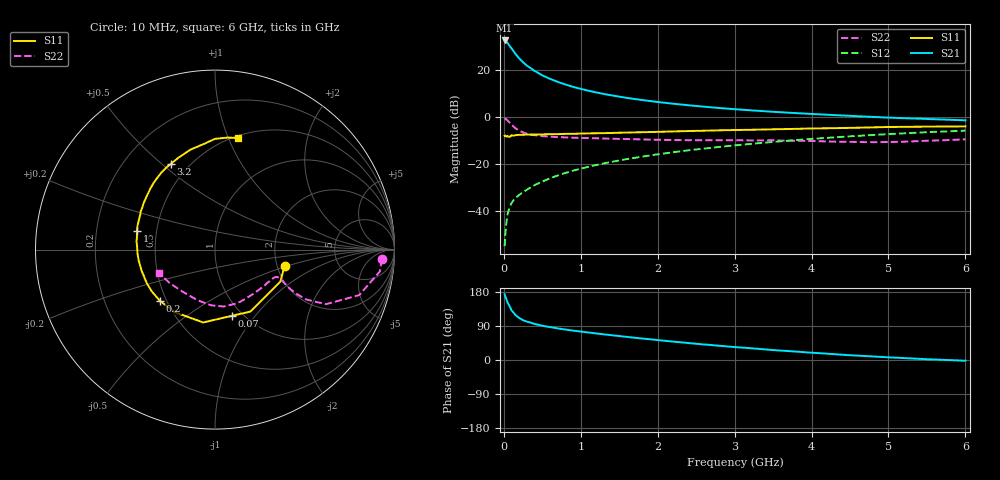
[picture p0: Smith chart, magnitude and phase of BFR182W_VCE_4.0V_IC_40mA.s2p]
! Infineon Technologies  Discrete & RF Semiconductors
! BFR182W
! VCE =  4.0 V,  IC =  40 mA
! Common Emitter S-Parameters:  Jan 2017
# GHz  S  MA  R  50
!  f  S11  S21  S12  S22
! GHz  MAG  ANG  MAG  ANG  MAG  ANG  MAG  ANG
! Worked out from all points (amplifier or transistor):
!   77 points, 10 MHz to 6 GHz, reference 50 ohm
!   highest |S21| = 32.6 dB at 10 MHz (marker M1)
!   |S21| within 3 dB of that: start of sweep to 90.44 MHz
!   unconditionally stable (mu >= 1): 421.3 MHz to 2.315 GHz
!   at 130 MHz: K = 0.60, MSG = 31.5 dB, |S12| = -35.2 dB
!   at 2.2 GHz: K = 1.01, MAG = 9.7 dB, |S12| = -15.0 dB
!   at 6 GHz: K = 0.89, MSG = 2.2 dB, |S12| = -5.7 dB
!   S11 on the Smith chart (normalised r, x): 10 MHz: 2.20, -0.47; 70 MHz: 0.89, -0.77; 200 MHz: 0.46, -0.32; 1 GHz: 0.39, +0.10; 3.2 GHz: 0.40, +0.54; 6 GHz: 0.52, +1.09
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0.01  0.3981 -13.1  42.66 173.4  0.0018 79.8  0.932 -3.3
0.02  0.4055 -26.1  42.57 167.4  0.0033 87.7  0.9262 -7.6
0.05  0.3977 -60.2  37.65 150.5  0.0089 71.3  0.8427 -17.5
0.07  0.3808 -76.0  33.67 143.8  0.0113 67.7  0.779 -20.6
0.1  0.4112 -99.2  28.84 130.7  0.0149 64.5  0.6886 -26.2
0.15  0.4141 -122.5  22.18 118.7  0.0191 61.0  0.5794 -28.7
0.2  0.4193 -136.9  17.7 110.9  0.0221 64.3  0.5137 -28.5
0.25  0.4226 -146.9  14.66 105.1  0.0256 63.7  0.4721 -27.6
0.3  0.4236 -154.2  12.43 101.2  0.0285 65.5  0.4434 -26.5
0.4  0.4257 -164.3  9.57 95.0  0.0357 68.1  0.4122 -24.8
0.5  0.4292 -171.5  7.734 90.5  0.0425 70.6  0.3941 -24.0
0.6  0.4326 -177.3  6.508 86.8  0.0501 71.4  0.3829 -23.7
0.7  0.434 178.2  5.607 83.5  0.0572 73.0  0.3756 -23.9
1  0.4463 166.6  3.988 75.0  0.08 74.2  0.3608 -26.3
1.1  0.451 163.6  3.641 72.6  0.0879 74.3  0.3573 -27.6
1.5  0.4656 152.6  2.72 63.2  0.1196 73.5  0.3436 -33.8
2.1  0.4903 138.5  2.01 50.6  0.1702 70.3  0.3276 -46.5
3.1  0.5342 119.0  1.436 32.7  0.2594 62.5  0.3207 -71.7
3.2  0.5375 117.2  1.399 31.2  0.2686 61.6  0.3199 -74.1
4.1  0.5761 102.3  1.145 18.0  0.3529 52.8  0.3069 -96.8
5.1  0.6184 88.7  0.962 6.1  0.4432 41.8  0.2973 -130.6
6  0.6347 78.3  0.855 -2.0  0.5163 31.4  0.3374 -157.7
